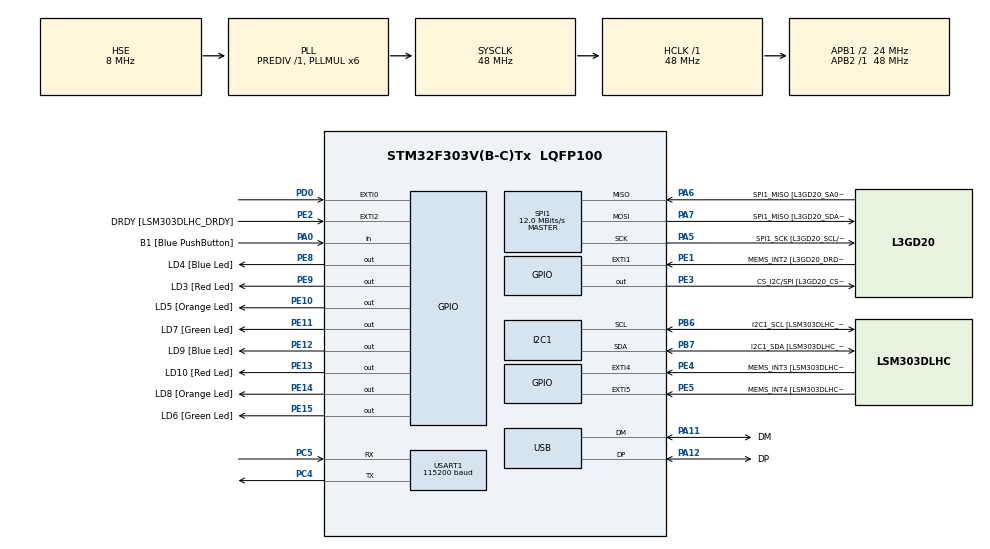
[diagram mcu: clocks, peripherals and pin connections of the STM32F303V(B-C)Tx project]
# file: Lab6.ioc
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I2C1.Timing=0x2000090E
I2C1.Timing-I2C=0x2000090E
Mcu.Family=STM32F3
Mcu.Name=STM32F303V(B-C)Tx
Mcu.Package=LQFP100
NVIC.EXTI0_IRQn=true\:0\:0\:false\:false\:true\:true\:true\:true
NVIC.PriorityGroup=NVIC_PRIORITYGROUP_0
PA0.GPIO_Label=B1 [Blue PushButton]
PA0.Signal=GPIO_Input
PA11.GPIO_Label=DM
PA11.Mode=Device
PA11.Signal=USB_DM
PA12.GPIO_Label=DP
PA12.Mode=Device
PA12.Signal=USB_DP
PA13.GPIO_Label=SWDIO
PA13.Mode=Serial_Wire
PA13.Signal=SYS_JTMS-SWDIO
PA14.GPIO_Label=SWCLK
PA14.Mode=Serial_Wire
PA14.Signal=SYS_JTCK-SWCLK
PA5.GPIO_Label=SPI1_SCK [L3GD20_SCL/SPC]
PA5.Mode=Full_Duplex_Master
PA5.Signal=SPI1_SCK
PA6.GPIO_Label=SPI1_MISO [L3GD20_SA0/SDO]
PA6.Mode=Full_Duplex_Master
PA6.Signal=SPI1_MISO
PA7.GPIO_Label=SPI1_MISO [L3GD20_SDA/SDI/SDO]
PA7.Mode=Full_Duplex_Master
PA7.Signal=SPI1_MOSI
PB3.GPIO_Label=SWO
PB3.Signal=SYS_JTDO-TRACESWO
PB6.GPIO_Label=I2C1_SCL [LSM303DLHC_SCL]
PB6.GPIO_Pu=GPIO_PULLUP
PB6.Mode=I2C
PB6.Signal=I2C1_SCL
PB7.GPIO_Label=I2C1_SDA [LSM303DLHC_SDA]
PB7.GPIO_Pu=GPIO_PULLUP
PB7.Mode=I2C
PB7.Signal=I2C1_SDA
PC14-OSC32_IN.GPIO_Label=OSC32_IN
PC14-OSC32_IN.Signal=RCC_OSC32_IN
PC15-OSC32_OUT.GPIO_Label=OSC32_OUT
PC15-OSC32_OUT.Signal=RCC_OSC32_OUT
PC4.Mode=Asynchronous
PC4.Signal=USART1_TX
PC5.Mode=Asynchronous
PC5.Signal=USART1_RX
PD0.GPIO_PuPd=GPIO_PULLDOWN
PD0.Signal=GPXTI0
PE1.GPIO_Label=MEMS_INT2 [L3GD20_DRDY/INT2]
PE1.GPIO_ModeDefaultEXTI=GPIO_MODE_EVT_RISING
PE1.Signal=GPXTI1
PE10.GPIO_Label=LD5 [Orange Led]
PE10.Signal=GPIO_Output
PE11.GPIO_Label=LD7 [Green Led]
PE11.Signal=GPIO_Output
PE12.GPIO_Label=LD9 [Blue Led]
PE12.Signal=GPIO_Output
PE13.GPIO_Label=LD10 [Red Led]
PE13.Signal=GPIO_Output
PE14.GPIO_Label=LD8 [Orange Led]
PE14.Signal=GPIO_Output
PE15.GPIO_Label=LD6 [Green Led]
PE15.Signal=GPIO_Output
PE2.GPIO_Label=DRDY [LSM303DLHC_DRDY]
PE2.GPIO_ModeDefaultEXTI=GPIO_MODE_EVT_RISING
PE2.Signal=GPXTI2
PE3.GPIO_Label=CS_I2C/SPI [L3GD20_CS_I2C/SPI]
PE3.Signal=GPIO_Output
PE4.GPIO_Label=MEMS_INT3 [LSM303DLHC_INT1]
PE4.GPIO_ModeDefaultEXTI=GPIO_MODE_EVT_RISING
PE4.Signal=GPXTI4
PE5.GPIO_Label=MEMS_INT4 [LSM303DLHC_INT2]
PE5.GPIO_ModeDefaultEXTI=GPIO_MODE_EVT_RISING
PE5.Signal=GPXTI5
PE8.GPIO_Label=LD4 [Blue Led]
PE8.Signal=GPIO_Output
PE9.GPIO_Label=LD3 [Red Led]
PE9.Signal=GPIO_Output
PF0-OSC_IN.GPIO_Label=OSC_IN
PF0-OSC_IN.Mode=HSE-External-Clock-Source
PF0-OSC_IN.Signal=RCC_OSC_IN
PF1-OSC_OUT.GPIO_Label=OSC_OUT
PF1-OSC_OUT.Signal=RCC_OSC_OUT
ProjectManager.HeapSize=0x200
ProjectManager.StackSize=0x400
ProjectManager.TargetToolchain=CMake
RCC.AHBFreq_Value=48000000
RCC.APB1CLKDivider=RCC_HCLK_DIV2
RCC.APB1Freq_Value=24000000
RCC.APB1TimFreq_Value=48000000
RCC.APB2Freq_Value=48000000
RCC.APB2TimFreq_Value=48000000
RCC.CortexFreq_Value=48000000
RCC.HCLKFreq_Value=48000000
RCC.HSE_VALUE=8000000
RCC.HSI_VALUE=8000000
RCC.LSE_VALUE=32768
RCC.PLLMUL=RCC_PLL_MUL6
RCC.SYSCLKFreq_VALUE=48000000
RCC.SYSCLKSourceVirtual=RCC_SYSCLKSOURCE_PLLCLK
RCC.USBFreq_Value=48000000
SPI1.BaudRatePrescaler=SPI_BAUDRATEPRESCALER_4
SPI1.BaudRatePrescaler-Full_Duplex_Master=SPI_BAUDRATEPRESCALER_2
SPI1.CalculateBaudRate=12.0 MBits/s
SPI1.CalculateBaudRate-Full_Duplex_Master=24.0 MBits/s
SPI1.Direction=SPI_DIRECTION_2LINES
SPI1.Mode=SPI_MODE_MASTER
SPI1.Mode-Full_Duplex_Master=SPI_MODE_MASTER
SPI1.VirtualType=VM_MASTER
TIM2.Prescaler=9
USART1.BaudRate=115200
USART1.VirtualMode-Asynchronous=VM_ASYNC
VP_TIM2_VS_ClockSourceINT.Mode=Internal
board=STM32F3DISCOVERY

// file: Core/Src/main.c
/* USER CODE BEGIN Header */
/**
  ******************************************************************************
  * @file           : main.c
  * @brief          : Main program body
  ******************************************************************************
  * @attention
  *
  * Copyright (c) 2026 STMicroelectronics.
  * All rights reserved.
  *
  * This software is licensed under terms that can be found in the LICENSE file
  * in the root directory of this software component.
  * If no LICENSE file comes with this software, it is provided AS-IS.
  *
  ******************************************************************************
  */
/* USER CODE END Header */
#include "main.h"

/* USER CODE BEGIN Includes */
#include <stdio.h>
#include <string.h>
#include <stdint.h>
/* USER CODE END Includes */

/* USER CODE BEGIN PD */
#define SAMPLE_SIZE 10

uint32_t capture[SAMPLE_SIZE];
uint8_t idx = 0;
uint8_t first_edge = 0;
uint8_t print_flag = 0;
/* USER CODE END PD */

I2C_HandleTypeDef hi2c1;

SPI_HandleTypeDef hspi1;

TIM_HandleTypeDef htim2;

UART_HandleTypeDef huart1;

PCD_HandleTypeDef hpcd_USB_FS;

void SystemClock_Config(void);
static void MX_GPIO_Init(void);
static void MX_I2C1_Init(void);
static void MX_SPI1_Init(void);
static void MX_TIM2_Init(void);
static void MX_USART1_UART_Init(void);
static void MX_USB_PCD_Init(void);

/* USER CODE BEGIN 0 */
int __io_putchar(int ch)
{
    HAL_UART_Transmit(&huart1, (uint8_t *)&ch, 1, HAL_MAX_DELAY);
    return ch;
}
/* USER CODE END 0 */

int main(void)
{

  /* MCU Configuration--------------------------------------------------------*/

  /* Reset of all peripherals, Initializes the Flash interface and the Systick. */
  HAL_Init();

  /* Configure the system clock */
  SystemClock_Config();

  /* Initialize all configured peripherals */
  MX_GPIO_Init();
  MX_I2C1_Init();
  MX_SPI1_Init();
  MX_TIM2_Init();
  MX_USART1_UART_Init();
  MX_USB_PCD_Init();

  /* Infinite loop */
  /* USER CODE BEGIN WHILE */
  while (1)
  {HAL_Delay(1000);
    if (print_flag)
    {
        uint32_t sum = 0;

        for (int i = 0; i < SAMPLE_SIZE; i++)
        {
            sum += capture[i];
        }

        uint32_t avg = sum / SAMPLE_SIZE;

      float freq = (4.8e6) / (avg);
      printf("Frequency: %.2f Hz\r\n", freq);
      print_flag = 0;
    }
    // HAL_Delay(100);
    /* USER CODE END WHILE */

  }
}

void SystemClock_Config(void)
{
  RCC_OscInitTypeDef RCC_OscInitStruct = {0};
  RCC_ClkInitTypeDef RCC_ClkInitStruct = {0};
  RCC_PeriphCLKInitTypeDef PeriphClkInit = {0};

  /** Initializes the RCC Oscillators according to the specified parameters
  * in the RCC_OscInitTypeDef structure.
  */
  RCC_OscInitStruct.OscillatorType = RCC_OSCILLATORTYPE_HSI|RCC_OSCILLATORTYPE_HSE;
  RCC_OscInitStruct.HSEState = RCC_HSE_BYPASS;
  RCC_OscInitStruct.HSEPredivValue = RCC_HSE_PREDIV_DIV1;
  RCC_OscInitStruct.HSIState = RCC_HSI_ON;
  RCC_OscInitStruct.HSICalibrationValue = RCC_HSICALIBRATION_DEFAULT;
  RCC_OscInitStruct.PLL.PLLState = RCC_PLL_ON;
  RCC_OscInitStruct.PLL.PLLSource = RCC_PLLSOURCE_HSE;
  RCC_OscInitStruct.PLL.PLLMUL = RCC_PLL_MUL6;
  if (HAL_RCC_OscConfig(&RCC_OscInitStruct) != HAL_OK)
  {
    Error_Handler();
  }

  /** Initializes the CPU, AHB and APB buses clocks
  */
  RCC_ClkInitStruct.ClockType = RCC_CLOCKTYPE_HCLK|RCC_CLOCKTYPE_SYSCLK
                              |RCC_CLOCKTYPE_PCLK1|RCC_CLOCKTYPE_PCLK2;
  RCC_ClkInitStruct.SYSCLKSource = RCC_SYSCLKSOURCE_PLLCLK;
  RCC_ClkInitStruct.AHBCLKDivider = RCC_SYSCLK_DIV1;
  RCC_ClkInitStruct.APB1CLKDivider = RCC_HCLK_DIV2;
  RCC_ClkInitStruct.APB2CLKDivider = RCC_HCLK_DIV1;

  if (HAL_RCC_ClockConfig(&RCC_ClkInitStruct, FLASH_LATENCY_1) != HAL_OK)
  {
    Error_Handler();
  }
  PeriphClkInit.PeriphClockSelection = RCC_PERIPHCLK_USB|RCC_PERIPHCLK_USART1
                              |RCC_PERIPHCLK_I2C1;
  PeriphClkInit.Usart1ClockSelection = RCC_USART1CLKSOURCE_PCLK2;
  PeriphClkInit.I2c1ClockSelection = RCC_I2C1CLKSOURCE_HSI;
  PeriphClkInit.USBClockSelection = RCC_USBCLKSOURCE_PLL;
  if (HAL_RCCEx_PeriphCLKConfig(&PeriphClkInit) != HAL_OK)
  {
    Error_Handler();
  }
}

static void MX_I2C1_Init(void)
{

  hi2c1.Instance = I2C1;
  hi2c1.Init.Timing = 0x2000090E;
  hi2c1.Init.OwnAddress1 = 0;
  hi2c1.Init.AddressingMode = I2C_ADDRESSINGMODE_7BIT;
  hi2c1.Init.DualAddressMode = I2C_DUALADDRESS_DISABLE;
  hi2c1.Init.OwnAddress2 = 0;
  hi2c1.Init.OwnAddress2Masks = I2C_OA2_NOMASK;
  hi2c1.Init.GeneralCallMode = I2C_GENERALCALL_DISABLE;
  hi2c1.Init.NoStretchMode = I2C_NOSTRETCH_DISABLE;
  if (HAL_I2C_Init(&hi2c1) != HAL_OK)
  {
    Error_Handler();
  }

  /** Configure Analogue filter
  */
  if (HAL_I2CEx_ConfigAnalogFilter(&hi2c1, I2C_ANALOGFILTER_ENABLE) != HAL_OK)
  {
    Error_Handler();
  }

  /** Configure Digital filter
  */
  if (HAL_I2CEx_ConfigDigitalFilter(&hi2c1, 0) != HAL_OK)
  {
    Error_Handler();
  }

}

static void MX_SPI1_Init(void)
{

  /* SPI1 parameter configuration*/
  hspi1.Instance = SPI1;
  hspi1.Init.Mode = SPI_MODE_MASTER;
  hspi1.Init.Direction = SPI_DIRECTION_2LINES;
  hspi1.Init.DataSize = SPI_DATASIZE_4BIT;
  hspi1.Init.CLKPolarity = SPI_POLARITY_LOW;
  hspi1.Init.CLKPhase = SPI_PHASE_1EDGE;
  hspi1.Init.NSS = SPI_NSS_SOFT;
  hspi1.Init.BaudRatePrescaler = SPI_BAUDRATEPRESCALER_4;
  hspi1.Init.FirstBit = SPI_FIRSTBIT_MSB;
  hspi1.Init.TIMode = SPI_TIMODE_DISABLE;
  hspi1.Init.CRCCalculation = SPI_CRCCALCULATION_DISABLE;
  hspi1.Init.CRCPolynomial = 7;
  hspi1.Init.CRCLength = SPI_CRC_LENGTH_DATASIZE;
  hspi1.Init.NSSPMode = SPI_NSS_PULSE_ENABLE;
  if (HAL_SPI_Init(&hspi1) != HAL_OK)
  {
    Error_Handler();
  }

}

static void MX_TIM2_Init(void)
{

  TIM_ClockConfigTypeDef sClockSourceConfig = {0};
  TIM_MasterConfigTypeDef sMasterConfig = {0};

  htim2.Instance = TIM2;
  htim2.Init.Prescaler = 9;
  htim2.Init.CounterMode = TIM_COUNTERMODE_UP;
  htim2.Init.Period = 4294967295;
  htim2.Init.ClockDivision = TIM_CLOCKDIVISION_DIV1;
  htim2.Init.AutoReloadPreload = TIM_AUTORELOAD_PRELOAD_DISABLE;
  if (HAL_TIM_Base_Init(&htim2) != HAL_OK)
  {
    Error_Handler();
  }
  sClockSourceConfig.ClockSource = TIM_CLOCKSOURCE_INTERNAL;
  if (HAL_TIM_ConfigClockSource(&htim2, &sClockSourceConfig) != HAL_OK)
  {
    Error_Handler();
  }
  sMasterConfig.MasterOutputTrigger = TIM_TRGO_RESET;
  sMasterConfig.MasterSlaveMode = TIM_MASTERSLAVEMODE_DISABLE;
  if (HAL_TIMEx_MasterConfigSynchronization(&htim2, &sMasterConfig) != HAL_OK)
  {
    Error_Handler();
  }

}

static void MX_USART1_UART_Init(void)
{

  huart1.Instance = USART1;
  huart1.Init.BaudRate = 115200;
  huart1.Init.WordLength = UART_WORDLENGTH_8B;
  huart1.Init.StopBits = UART_STOPBITS_1;
  huart1.Init.Parity = UART_PARITY_NONE;
  huart1.Init.Mode = UART_MODE_TX_RX;
  huart1.Init.HwFlowCtl = UART_HWCONTROL_NONE;
  huart1.Init.OverSampling = UART_OVERSAMPLING_16;
  huart1.Init.OneBitSampling = UART_ONE_BIT_SAMPLE_DISABLE;
  huart1.AdvancedInit.AdvFeatureInit = UART_ADVFEATURE_NO_INIT;
  if (HAL_UART_Init(&huart1) != HAL_OK)
  {
    Error_Handler();
  }

}

static void MX_USB_PCD_Init(void)
{

  hpcd_USB_FS.Instance = USB;
  hpcd_USB_FS.Init.dev_endpoints = 8;
  hpcd_USB_FS.Init.speed = PCD_SPEED_FULL;
  hpcd_USB_FS.Init.phy_itface = PCD_PHY_EMBEDDED;
  hpcd_USB_FS.Init.low_power_enable = DISABLE;
  hpcd_USB_FS.Init.battery_charging_enable = DISABLE;
  if (HAL_PCD_Init(&hpcd_USB_FS) != HAL_OK)
  {
    Error_Handler();
  }

}

static void MX_GPIO_Init(void)
{
  GPIO_InitTypeDef GPIO_InitStruct = {0};

  /* GPIO Ports Clock Enable */
  __HAL_RCC_GPIOE_CLK_ENABLE();
  __HAL_RCC_GPIOC_CLK_ENABLE();
  __HAL_RCC_GPIOF_CLK_ENABLE();
  __HAL_RCC_GPIOA_CLK_ENABLE();
  __HAL_RCC_GPIOD_CLK_ENABLE();
  __HAL_RCC_GPIOB_CLK_ENABLE();

  /*Configure GPIO pin Output Level */
  HAL_GPIO_WritePin(GPIOE, CS_I2C_SPI_Pin|LD4_Pin|LD3_Pin|LD5_Pin
                          |LD7_Pin|LD9_Pin|LD10_Pin|LD8_Pin
                          |LD6_Pin, GPIO_PIN_RESET);

  /*Configure GPIO pins : DRDY_Pin MEMS_INT3_Pin MEMS_INT4_Pin MEMS_INT2_Pin */
  GPIO_InitStruct.Pin = DRDY_Pin|MEMS_INT3_Pin|MEMS_INT4_Pin|MEMS_INT2_Pin;
  GPIO_InitStruct.Mode = GPIO_MODE_EVT_RISING;
  GPIO_InitStruct.Pull = GPIO_NOPULL;
  HAL_GPIO_Init(GPIOE, &GPIO_InitStruct);

  /*Configure GPIO pins : CS_I2C_SPI_Pin LD4_Pin LD3_Pin LD5_Pin
                           LD7_Pin LD9_Pin LD10_Pin LD8_Pin
                           LD6_Pin */
  GPIO_InitStruct.Pin = CS_I2C_SPI_Pin|LD4_Pin|LD3_Pin|LD5_Pin
                          |LD7_Pin|LD9_Pin|LD10_Pin|LD8_Pin
                          |LD6_Pin;
  GPIO_InitStruct.Mode = GPIO_MODE_OUTPUT_PP;
  GPIO_InitStruct.Pull = GPIO_NOPULL;
  GPIO_InitStruct.Speed = GPIO_SPEED_FREQ_LOW;
  HAL_GPIO_Init(GPIOE, &GPIO_InitStruct);

  /*Configure GPIO pin : B1_Pin */
  GPIO_InitStruct.Pin = B1_Pin;
  GPIO_InitStruct.Mode = GPIO_MODE_INPUT;
  GPIO_InitStruct.Pull = GPIO_NOPULL;
  HAL_GPIO_Init(B1_GPIO_Port, &GPIO_InitStruct);

  /*Configure GPIO pin : PD0 */
  GPIO_InitStruct.Pin = GPIO_PIN_0;
  GPIO_InitStruct.Mode = GPIO_MODE_IT_RISING;
  GPIO_InitStruct.Pull = GPIO_PULLDOWN;
  HAL_GPIO_Init(GPIOD, &GPIO_InitStruct);

  /* EXTI interrupt init*/
  HAL_NVIC_SetPriority(EXTI0_IRQn, 0, 0);
  HAL_NVIC_EnableIRQ(EXTI0_IRQn);

}

/* USER CODE BEGIN 4 */
void HAL_GPIO_EXTI_Callback(uint16_t GPIO_Pin)
{
    if (GPIO_Pin == GPIO_PIN_0)   // PD0 interrupt
    {
        if (first_edge == 0)
        {
            // First edge → start timer
            __HAL_TIM_SET_COUNTER(&htim2, 0);
            HAL_TIM_Base_Start(&htim2);
            first_edge = 1;
        }
        else
        {
            // Next edge → capture time
            capture[idx] = __HAL_TIM_GET_COUNTER(&htim2);

            idx++;
            first_edge = 0;
            // Reset timer for next measurement
            __HAL_TIM_SET_COUNTER(&htim2, 0);

            if (idx >= SAMPLE_SIZE)
            {
                idx = 0;
                print_flag = 1;
            }
        }
    }
}
/* USER CODE END 4 */

void Error_Handler(void)
{
  __disable_irq();
  while (1)
  {
  }
}
